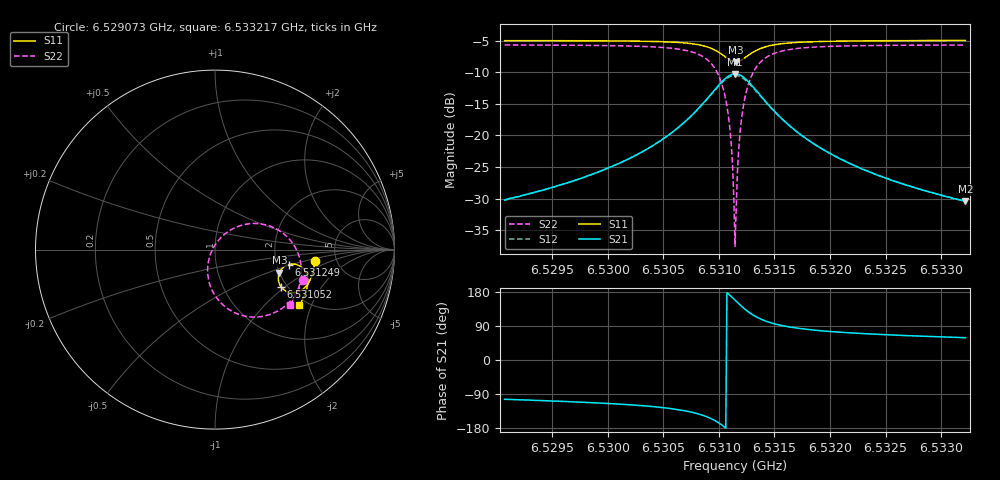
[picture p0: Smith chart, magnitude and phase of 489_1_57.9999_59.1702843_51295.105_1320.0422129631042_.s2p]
#  HZ  S  RI  R  50.00
! Rohde & Schwarz Vector Network Analyzer
! Rohde-Schwarz,ZNB20-2Port,1311601062101988,3.16
! Created: UTC 3/21/2024, 1:12:11 AM
! freq[Hz]  re:S11  im:S11  re:S21  im:S21  re:S12  im:S12  re:S22  im:S22
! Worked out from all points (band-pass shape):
!   401 points, 6.529073 GHz to 6.533217 GHz, reference 50 ohm
!   highest |S21| = -10.27 dB at 6.531145 GHz (marker M1); lowest = -30.4 dB at 6.533217 GHz (marker M2)
!   |S21| within 3 dB of the highest: 6.53094 GHz to 6.531354 GHz (414.1 kHz wide, 0.00634 % of centre)
!   lowest |S11| = -8.4 dB at 6.531156 GHz (marker M3), VSWR 2.23, Z = 99.9 - j30 ohm
!   |S11| at or under -10 dB: nowhere
!   |S22| runs from -37.5 to -5.7 dB; largest |S21 - S12| = 0.012
!   S11 on the Smith chart (normalised r, x): 6.529073 GHz: 3.42, -0.65; 6.531052 GHz: 1.86, -0.93; 6.531249 GHz: 2.33, -0.47; 6.533217 GHz: 1.82, -1.64
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6.5290734e9  0.557 -0.065  -0.00729 -0.03  -0.00799 -0.03  0.4905 -0.1688
6.5297675e9  0.5463 -0.1225  -0.0168 -0.0429  -0.0179 -0.0426  0.4595 -0.2332
6.5304616e9  0.5174 -0.1911  -0.0506 -0.0736  -0.0525 -0.0721  0.378 -0.3237
6.5306999e9  0.4901 -0.2207  -0.0902 -0.0925  -0.0931 -0.0897  0.2978 -0.3642
6.530876e9  0.4464 -0.2395  -0.1582 -0.0988  -0.1604 -0.0926  0.1717 -0.3715
6.5309796e9  0.4019 -0.2339  -0.2274 -0.0723  -0.2266 -0.0631  0.0541 -0.3166
6.5310522e9  0.3673 -0.2063  -0.2786 -0.0138  -0.2728 -0.00405  -0.0233 -0.2098
6.5310936e9  0.3545 -0.1784  -0.2943 0.039  -0.2855 0.0469  -0.0412 -0.1192
6.5311143e9  0.3524 -0.1621  -0.2949 0.069  -0.2849 0.0753  -0.0373 -0.0697
6.5311247e9  0.3526 -0.1535  -0.2929 0.0845  -0.2825 0.0897  -0.0316 -0.0449
6.531135e9  0.3538 -0.145  -0.2894 0.0996  -0.2788 0.1039  -0.0235 -0.0204
6.5311454e9  0.3558 -0.1367  -0.2843 0.1145  -0.2736 0.1178  -0.013 0.00308
6.5311558e9  0.3587 -0.1285  -0.278 0.1285  -0.2672 0.1311  -9.67e-05 0.0256
6.5311661e9  0.3626 -0.1209  -0.2701 0.1423  -0.2595 0.1436  0.015 0.0465
6.5311868e9  0.3725 -0.1072  -0.2511 0.1662  -0.2411 0.166  0.05 0.0829
6.5311972e9  0.3782 -0.1013  -0.2402 0.1766  -0.2306 0.1755  0.0696 0.0982
6.531249e9  0.4116 -0.0831  -0.1795 0.2085  -0.1728 0.2055  0.1749 0.1417
6.5313215e9  0.4547 -0.0837  -0.1039 0.2104  -0.1004 0.2072  0.3023 0.132
6.5314251e9  0.4919 -0.1063  -0.0389 0.1789  -0.0376 0.1772  0.4081 0.0649
6.5318395e9  0.5172 -0.1865  0.0162 0.086  0.0171 0.0859  0.4813 -0.1281
6.5325337e9  0.4976 -0.2575  0.018 0.0413  0.0187 0.0409  0.4529 -0.245
6.5332174e9  0.4707 -0.3084  0.0155 0.0258  0.0161 0.0256  0.4182 -0.3059
